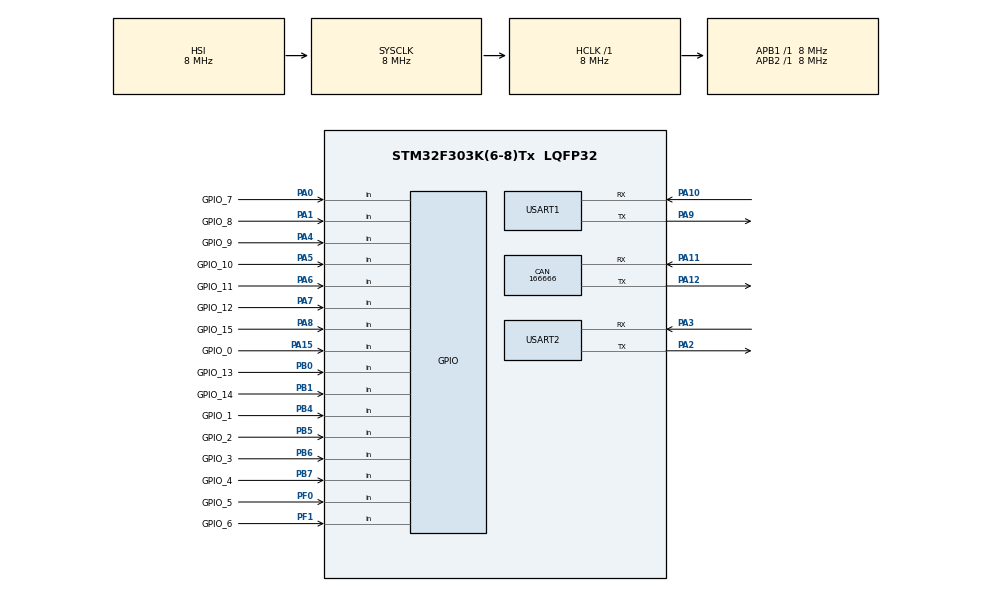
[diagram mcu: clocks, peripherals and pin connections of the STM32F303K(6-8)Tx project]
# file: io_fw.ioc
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CAN.CalculateBaudRate=166666
CAN.CalculateTimeBit=6000
CAN.CalculateTimeQuantum=2000.0
Mcu.Family=STM32F3
Mcu.Name=STM32F303K(6-8)Tx
Mcu.Package=LQFP32
NVIC.PriorityGroup=NVIC_PRIORITYGROUP_4
PA0.GPIO_Label=GPIO_7
PA0.Signal=GPIO_Input
PA1.GPIO_Label=GPIO_8
PA1.Signal=GPIO_Input
PA10.Mode=Asynchronous
PA10.Signal=USART1_RX
PA11.Mode=CAN_Activate
PA11.Signal=CAN_RX
PA12.Mode=CAN_Activate
PA12.Signal=CAN_TX
PA13.Mode=Serial_Wire
PA13.Signal=SYS_JTMS-SWDIO
PA14.Mode=Serial_Wire
PA14.Signal=SYS_JTCK-SWCLK
PA15.GPIO_Label=GPIO_0
PA15.Signal=GPIO_Input
PA2.Mode=Asynchronous
PA2.Signal=USART2_TX
PA3.Mode=Asynchronous
PA3.Signal=USART2_RX
PA4.GPIO_Label=GPIO_9
PA4.Signal=GPIO_Input
PA5.GPIO_Label=GPIO_10
PA5.Signal=GPIO_Input
PA6.GPIO_Label=GPIO_11
PA6.Signal=GPIO_Input
PA7.GPIO_Label=GPIO_12
PA7.Signal=GPIO_Input
PA8.GPIO_Label=GPIO_15
PA8.Signal=GPIO_Input
PA9.Mode=Asynchronous
PA9.Signal=USART1_TX
PB0.GPIO_Label=GPIO_13
PB0.Signal=GPIO_Input
PB1.GPIO_Label=GPIO_14
PB1.Signal=GPIO_Input
PB3.Signal=SYS_JTDO-TRACESWO
PB4.GPIO_Label=GPIO_1
PB4.Signal=GPIO_Input
PB5.GPIO_Label=GPIO_2
PB5.Signal=GPIO_Input
PB6.GPIO_Label=GPIO_3
PB6.Signal=GPIO_Input
PB7.GPIO_Label=GPIO_4
PB7.Signal=GPIO_Input
PF0\ /\ OSC_IN.GPIO_Label=GPIO_5
PF0\ /\ OSC_IN.Signal=GPIO_Input
PF1\ /\ OSC_OUT.GPIO_Label=GPIO_6
PF1\ /\ OSC_OUT.Signal=GPIO_Input
ProjectManager.HeapSize=0x200
ProjectManager.StackSize=0x400
ProjectManager.TargetToolchain=CMake
RCC.AHBFreq_Value=8000000
RCC.APB1Freq_Value=8000000
RCC.APB2Freq_Value=8000000
RCC.CortexFreq_Value=8000000
RCC.HSE_VALUE=8000000
RCC.HSI_VALUE=8000000
RCC.SYSCLKFreq_VALUE=8000000
USART1.VirtualMode-Asynchronous=VM_ASYNC
USART2.VirtualMode-Asynchronous=VM_ASYNC
board=custom

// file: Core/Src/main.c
/* USER CODE BEGIN Header */
/**
 ******************************************************************************
 * @file           : main.c
 * @brief          : Main program body
 ******************************************************************************
 * @attention
 *
 * Copyright (c) 2025 STMicroelectronics.
 * All rights reserved.
 *
 * This software is licensed under terms that can be found in the LICENSE file
 * in the root directory of this software component.
 * If no LICENSE file comes with this software, it is provided AS-IS.
 *
 ******************************************************************************
 */
/* USER CODE END Header */
#include "main.h"

/* USER CODE BEGIN Includes */
#include "imrc_ecan.h"
#include "stm32f303x8.h"
/* USER CODE END Includes */

/* USER CODE BEGIN PD */
#define UNIT_CODE 21
#define UNIT_ID 1
/* USER CODE END PD */

CAN_HandleTypeDef hcan;

UART_HandleTypeDef huart1;
UART_HandleTypeDef huart2;

/* USER CODE BEGIN PV */

GPIO_TypeDef *gpio_ports[] = {
    GPIO_0_GPIO_Port,
    GPIO_1_GPIO_Port,
    GPIO_2_GPIO_Port,
    GPIO_3_GPIO_Port,
    GPIO_4_GPIO_Port,
    GPIO_5_GPIO_Port,
    GPIO_6_GPIO_Port,
    GPIO_7_GPIO_Port,
    GPIO_8_GPIO_Port,
    GPIO_9_GPIO_Port,
    GPIO_10_GPIO_Port,
    GPIO_11_GPIO_Port,
    GPIO_12_GPIO_Port,
    GPIO_13_GPIO_Port,
    GPIO_14_GPIO_Port,
    GPIO_15_GPIO_Port};

uint16_t gpio_pins[] = {
    GPIO_0_Pin,
    GPIO_1_Pin,
    GPIO_2_Pin,
    GPIO_3_Pin,
    GPIO_4_Pin,
    GPIO_5_Pin,
    GPIO_6_Pin,
    GPIO_7_Pin,
    GPIO_8_Pin,
    GPIO_9_Pin,
    GPIO_10_Pin,
    GPIO_11_Pin,
    GPIO_12_Pin,
    GPIO_13_Pin,
    GPIO_14_Pin,
    GPIO_15_Pin};

/* USER CODE END PV */

void SystemClock_Config(void);
static void MX_GPIO_Init(void);
static void MX_CAN_Init(void);
static void MX_USART1_UART_Init(void);
static void MX_USART2_UART_Init(void);

int main(void)
{

    /* MCU Configuration--------------------------------------------------------*/

    /* Reset of all peripherals, Initializes the Flash interface and the Systick. */
    HAL_Init();

    /* Configure the system clock */
    SystemClock_Config();

    /* Initialize all configured peripherals */
    MX_GPIO_Init();
    MX_CAN_Init();
    MX_USART1_UART_Init();
    MX_USART2_UART_Init();

    /* Infinite loop */
    while (1)
    {

    }
}

void SystemClock_Config(void)
{
    RCC_OscInitTypeDef RCC_OscInitStruct = {0};
    RCC_ClkInitTypeDef RCC_ClkInitStruct = {0};
    RCC_PeriphCLKInitTypeDef PeriphClkInit = {0};

    /** Initializes the RCC Oscillators according to the specified parameters
     * in the RCC_OscInitTypeDef structure.
     */
    RCC_OscInitStruct.OscillatorType = RCC_OSCILLATORTYPE_HSI;
    RCC_OscInitStruct.HSIState = RCC_HSI_ON;
    RCC_OscInitStruct.HSICalibrationValue = RCC_HSICALIBRATION_DEFAULT;
    RCC_OscInitStruct.PLL.PLLState = RCC_PLL_NONE;
    if (HAL_RCC_OscConfig(&RCC_OscInitStruct) != HAL_OK)
    {
        Error_Handler();
    }

    /** Initializes the CPU, AHB and APB buses clocks
     */
    RCC_ClkInitStruct.ClockType = RCC_CLOCKTYPE_HCLK | RCC_CLOCKTYPE_SYSCLK | RCC_CLOCKTYPE_PCLK1 | RCC_CLOCKTYPE_PCLK2;
    RCC_ClkInitStruct.SYSCLKSource = RCC_SYSCLKSOURCE_HSI;
    RCC_ClkInitStruct.AHBCLKDivider = RCC_SYSCLK_DIV1;
    RCC_ClkInitStruct.APB1CLKDivider = RCC_HCLK_DIV1;
    RCC_ClkInitStruct.APB2CLKDivider = RCC_HCLK_DIV1;

    if (HAL_RCC_ClockConfig(&RCC_ClkInitStruct, FLASH_LATENCY_0) != HAL_OK)
    {
        Error_Handler();
    }
    PeriphClkInit.PeriphClockSelection = RCC_PERIPHCLK_USART1;
    PeriphClkInit.Usart1ClockSelection = RCC_USART1CLKSOURCE_PCLK1;
    if (HAL_RCCEx_PeriphCLKConfig(&PeriphClkInit) != HAL_OK)
    {
        Error_Handler();
    }
}

static void MX_CAN_Init(void)
{

    hcan.Instance = CAN;
    hcan.Init.Prescaler = 16;
    hcan.Init.Mode = CAN_MODE_NORMAL;
    hcan.Init.SyncJumpWidth = CAN_SJW_1TQ;
    hcan.Init.TimeSeg1 = CAN_BS1_1TQ;
    hcan.Init.TimeSeg2 = CAN_BS2_1TQ;
    hcan.Init.TimeTriggeredMode = DISABLE;
    hcan.Init.AutoBusOff = DISABLE;
    hcan.Init.AutoWakeUp = DISABLE;
    hcan.Init.AutoRetransmission = DISABLE;
    hcan.Init.ReceiveFifoLocked = DISABLE;
    hcan.Init.TransmitFifoPriority = DISABLE;
    if (HAL_CAN_Init(&hcan) != HAL_OK)
    {
        Error_Handler();
    }
}

static void MX_USART1_UART_Init(void)
{

    huart1.Instance = USART1;
    huart1.Init.BaudRate = 38400;
    huart1.Init.WordLength = UART_WORDLENGTH_8B;
    huart1.Init.StopBits = UART_STOPBITS_1;
    huart1.Init.Parity = UART_PARITY_NONE;
    huart1.Init.Mode = UART_MODE_TX_RX;
    huart1.Init.HwFlowCtl = UART_HWCONTROL_NONE;
    huart1.Init.OverSampling = UART_OVERSAMPLING_16;
    huart1.Init.OneBitSampling = UART_ONE_BIT_SAMPLE_DISABLE;
    huart1.AdvancedInit.AdvFeatureInit = UART_ADVFEATURE_NO_INIT;
    if (HAL_UART_Init(&huart1) != HAL_OK)
    {
        Error_Handler();
    }
}

static void MX_USART2_UART_Init(void)
{

    huart2.Instance = USART2;
    huart2.Init.BaudRate = 38400;
    huart2.Init.WordLength = UART_WORDLENGTH_8B;
    huart2.Init.StopBits = UART_STOPBITS_1;
    huart2.Init.Parity = UART_PARITY_NONE;
    huart2.Init.Mode = UART_MODE_TX_RX;
    huart2.Init.HwFlowCtl = UART_HWCONTROL_NONE;
    huart2.Init.OverSampling = UART_OVERSAMPLING_16;
    huart2.Init.OneBitSampling = UART_ONE_BIT_SAMPLE_DISABLE;
    huart2.AdvancedInit.AdvFeatureInit = UART_ADVFEATURE_NO_INIT;
    if (HAL_UART_Init(&huart2) != HAL_OK)
    {
        Error_Handler();
    }
}

static void MX_GPIO_Init(void)
{
    GPIO_InitTypeDef GPIO_InitStruct = {0};

    /* GPIO Ports Clock Enable */
    __HAL_RCC_GPIOF_CLK_ENABLE();
    __HAL_RCC_GPIOA_CLK_ENABLE();
    __HAL_RCC_GPIOB_CLK_ENABLE();

    /*Configure GPIO pins : GPIO_5_Pin GPIO_6_Pin */
    GPIO_InitStruct.Pin = GPIO_5_Pin | GPIO_6_Pin;
    GPIO_InitStruct.Mode = GPIO_MODE_INPUT;
    GPIO_InitStruct.Pull = GPIO_NOPULL;
    HAL_GPIO_Init(GPIOF, &GPIO_InitStruct);

    /*Configure GPIO pins : GPIO_7_Pin GPIO_8_Pin GPIO_9_Pin GPIO_10_Pin
                             GPIO_11_Pin GPIO_12_Pin GPIO_15_Pin GPIO_0_Pin */
    GPIO_InitStruct.Pin = GPIO_7_Pin | GPIO_8_Pin | GPIO_9_Pin | GPIO_10_Pin | GPIO_11_Pin | GPIO_12_Pin | GPIO_15_Pin | GPIO_0_Pin;
    GPIO_InitStruct.Mode = GPIO_MODE_INPUT;
    GPIO_InitStruct.Pull = GPIO_NOPULL;
    HAL_GPIO_Init(GPIOA, &GPIO_InitStruct);

    /*Configure GPIO pins : GPIO_13_Pin GPIO_14_Pin GPIO_1_Pin GPIO_2_Pin
                             GPIO_3_Pin GPIO_4_Pin */
    GPIO_InitStruct.Pin = GPIO_13_Pin | GPIO_14_Pin | GPIO_1_Pin | GPIO_2_Pin | GPIO_3_Pin | GPIO_4_Pin;
    GPIO_InitStruct.Mode = GPIO_MODE_INPUT;
    GPIO_InitStruct.Pull = GPIO_NOPULL;
    HAL_GPIO_Init(GPIOB, &GPIO_InitStruct);

}

/* USER CODE BEGIN 4 */
void parseEcanPayload(uint8_t pl[], int len)
{
    uint32_t pl_index, pl_entry;
    ecan_headerConvertToIdxEntry(pl[0], &pl_index, &pl_entry);

    uint8_t ret_pl[7] = {0};
    uint32_t ret_len = 0;
    int gpio_ch = 0;

    switch (pl_index)
    {
    case 0:
    {
        switch (pl_entry)
        {
        case 1:
            // 0 1 -> 初期化状態を返す
            // まあ初期化できてないとそもそも送受信できないので()
            ret_pl[0] = 0;
            ret_len = 1;

            ecan_sendPacket(&hcan, pl_index, pl_entry, ret_len, ret_pl);
            break;
        default:
            // ちょっと何言ってるかわかんない
            // send_parseError();
            break;
        }

        break;
    }
    case 3:
    {
        switch (pl_entry)
        {
        case 0:
            gpio_ch = pl[0];
            ret_pl[0] = gpio_ch;
            ret_pl[1] = HAL_GPIO_ReadPin(gpio_ports[gpio_ch], gpio_pins[gpio_ch]);
            ret_len = 2;
            ecan_sendPacket(&hcan, 3, 0, ret_len, ret_pl);
        case 1:
            gpio_ch = pl[0];
            int gpio_value = pl[1];
            ret_pl[0] = gpio_ch;
            ret_pl[1] = gpio_value;
            HAL_GPIO_WritePin(gpio_ports[gpio_ch], gpio_pins[gpio_ch], gpio_value);
            ret_len = 2;
            ecan_sendPacket(&hcan, 3, 1, ret_len, ret_pl);
        }
    }
    default:
    {
        // ちょっと何言ってるかわかんない
        // send_parseError();
        break;
    }
    }
}

void HAL_CAN_RxFifo0MsgPendingCallback(CAN_HandleTypeDef *hcan)
{
    CAN_RxHeaderTypeDef RxHeader; // 受信メッセージの情報が格納されるインスタンス
    uint8_t RxData[8];            // 受信したデータを一時保存する配列
    if (HAL_CAN_GetRxMessage(hcan, CAN_RX_FIFO0, &RxHeader, RxData) == HAL_OK)
    {
        // int addr = RxHeader.StdId;
        int len = RxHeader.DLC;
        uint8_t use_data[len];

        for (int i = 0; i <= len; i++)
        {
            use_data[i] = RxData[i];
        }

        parseEcanPayload(use_data, len);
    }
}
/* USER CODE END 4 */

void Error_Handler(void)
{
    __disable_irq();
    while (1)
    {
    }
}
